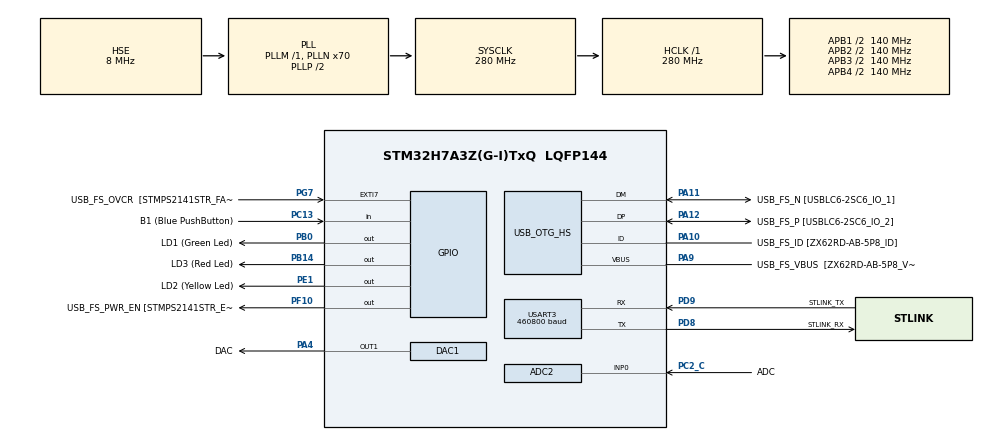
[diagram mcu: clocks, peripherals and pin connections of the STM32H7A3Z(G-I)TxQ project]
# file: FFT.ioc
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ADC2.NbrOfConversionFlag=1
ADC2.Resolution=ADC_RESOLUTION_10B
DAC1.DAC_Channel-DAC_OUT1=DAC_CHANNEL_1
Mcu.Family=STM32H7
Mcu.Name=STM32H7A3Z(G-I)TxQ
Mcu.Package=LQFP144
NVIC.PriorityGroup=NVIC_PRIORITYGROUP_4
PA10.GPIO_Label=USB_FS_ID [ZX62RD-AB-5P8_ID]
PA10.Mode=OTG/Dual-Role-Device-FS
PA10.Signal=USB_OTG_HS_ID
PA11.GPIO_Label=USB_FS_N [USBLC6-2SC6_IO_1]
PA11.Mode=OTG/Dual-Role-Device-FS
PA11.Signal=USB_OTG_HS_DM
PA12.GPIO_Label=USB_FS_P [USBLC6-2SC6_IO_2]
PA12.Mode=OTG/Dual-Role-Device-FS
PA12.Signal=USB_OTG_HS_DP
PA4.GPIO_Label=DAC
PA4.GPIO_Mode=GPIO_MODE_ANALOG
PA4.GPIO_PuPd=GPIO_NOPULL
PA4.Signal=COMP_DAC11_group
PA9.GPIO_Label=USB_FS_VBUS  [ZX62RD-AB-5P8_VBUS]
PA9.Mode=Activate_VBUS_FS
PA9.Signal=USB_OTG_HS_VBUS
PB0.GPIO_Label=LD1 (Green Led)
PB0.Signal=GPIO_Output
PB14.GPIO_Label=LD3 (Red Led)
PB14.Signal=GPIO_Output
PC13.GPIO_Label=B1 (Blue PushButton)
PC13.Signal=GPIO_Input
PC14-OSC32_IN.GPIO_Label=OSC32_IN
PC14-OSC32_IN.Mode=LSE-External-Oscillator
PC14-OSC32_IN.Signal=RCC_OSC32_IN
PC15-OSC32_OUT.GPIO_Label=OSC32_OUT
PC15-OSC32_OUT.Mode=LSE-External-Oscillator
PC15-OSC32_OUT.Signal=RCC_OSC32_OUT
PC2_C.GPIO_Label=ADC
PC2_C.GPIO_Mode=GPIO_MODE_ANALOG
PC2_C.GPIO_PuPd=GPIO_NOPULL
PC2_C.Mode=IN0-Single-Ended
PC2_C.Signal=ADC2_INP0
PD8.GPIO_Label=STLINK_RX
PD8.Mode=Asynchronous
PD8.Signal=USART3_TX
PD9.GPIO_Label=STLINK_TX
PD9.Mode=Asynchronous
PD9.Signal=USART3_RX
PE1.GPIO_Label=LD2 (Yellow Led)
PE1.Signal=GPIO_Output
PF10.GPIO_Label=USB_FS_PWR_EN [STMPS2141STR_EN]
PF10.Signal=GPIO_Output
PG7.GPIO_Label=USB_FS_OVCR  [STMPS2141STR_FAULT]
PG7.Signal=GPXTI7
PH0-OSC_IN.GPIO_Label=PH0-MCU
PH0-OSC_IN.Mode=HSE-External-Clock-Source
PH0-OSC_IN.Signal=RCC_OSC_IN
PH1-OSC_OUT.GPIO_Label=PH1-MCU
PH1-OSC_OUT.Signal=RCC_OSC_OUT
ProjectManager.HeapSize=0x200
ProjectManager.StackSize=0x400
ProjectManager.TargetToolchain=STM32CubeIDE
RCC.ADCFreq_Value=42666666.666666664
RCC.APB1Freq_Value=140000000
RCC.APB2Freq_Value=140000000
RCC.APB3Freq_Value=140000000
RCC.APB4Freq_Value=140000000
RCC.CDPPRE=RCC_APB3_DIV2
RCC.CDPPRE1=RCC_APB1_DIV2
RCC.CDPPRE2=RCC_APB2_DIV2
RCC.CortexFreq_Value=280000000
RCC.DIVM1=1
RCC.DIVM2=1
RCC.DIVM3=1
RCC.DIVN1=70
RCC.DIVN2=16
RCC.DIVN3=24
RCC.DIVP2=3
RCC.DIVQ1=20
RCC.DIVQ2=1
RCC.HCLKFreq_Value=280000000
RCC.HSE_VALUE=8000000
RCC.PLL2FRACN=0
RCC.PLL2_VCI_Range-AdvancedSettings=RCC_PLL2VCIRANGE_0
RCC.PLL3FRACN=0
RCC.PLL3_VCO_SEL-AdvancedSettings=RCC_PLL3VCOWIDE
RCC.PLLFRACN=0
RCC.PLLSourceVirtual=RCC_PLLSOURCE_HSE
RCC.SRDPPRE=RCC_APB4_DIV2
RCC.SYSCLKFreq_VALUE=280000000
RCC.SYSCLKSource=RCC_SYSCLKSOURCE_PLLCLK
RCC.SupplySource=PWR_DIRECT_SMPS_SUPPLY
RCC.USBCLockSelection=RCC_USBCLKSOURCE_HSI48
RCC.USBFreq_Value=48000000
SH.COMP_DAC11_group.0=DAC1_OUT1,DAC_OUT1
USART3.BaudRate=460800
USART3.VirtualMode-Asynchronous=VM_ASYNC
board=NUCLEO-H7A3ZI-Q

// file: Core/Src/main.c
/* USER CODE BEGIN Header */
/**
  ******************************************************************************
  * @file           : main.c
  * @brief          : Main program body
  ******************************************************************************
  * @attention
  *
  * Copyright (c) 2023 STMicroelectronics.
  * All rights reserved.
  *
  * This software is licensed under terms that can be found in the LICENSE file
  * in the root directory of this software component.
  * If no LICENSE file comes with this software, it is provided AS-IS.
  *
  ******************************************************************************
  */
/* USER CODE END Header */
#include "main.h"
#include "adc.h"
#include "dac.h"
#include "usart.h"
#include "usb_otg.h"
#include "gpio.h"

/* USER CODE BEGIN Includes */

#include "arm_math.h"
#include "arm_const_structs.h"
#include "fir.h"

/* USER CODE END Includes */

/* USER CODE BEGIN PTD */

extern ADC_HandleTypeDef hadc2;
extern UART_HandleTypeDef huart3;

/* USER CODE END PTD */

/* USER CODE BEGIN PD */

int CyclesCounterInit( uint32_t clockSpeed );

#define PUTCHAR_PROTOTYPE int __io_putchar(int ch)
#define BITS    	10
#define NM  		256
#define MUESTREO	50000
#define CLOCK 		280000000

#define CyclesCounterRead()		DWT->CYCCNT
#define CyclesCounterReset()    (DWT->CYCCNT = 0)

struct header_struct {
   char     pre[8];
   uint32_t id;
   uint16_t N;
   uint16_t fs ;
   uint16_t hLength ;
   char     pos[4];
} __attribute__ ((packed));

struct header_struct header={"*header*",0, NM, MUESTREO, h_LENGTH,"end*"};

int16_t offset = 512;
int16_t zero = 0;

/* USER CODE END PD */

void SystemClock_Config(void);

int main(void)
{
  /* USER CODE BEGIN 1 */

  uint16_t 	adc_value = 0;

  uint16_t 	sample = 0;
  int16_t 	adc[header.N];
  int16_t 	y[h_LENGTH+header.N-1 ];

  /* USER CODE END 1 */

  /* MCU Configuration--------------------------------------------------------*/

  /* Reset of all peripherals, Initializes the Flash interface and the Systick. */
  HAL_Init();

  /* Configure the system clock */
  SystemClock_Config();

  /* Initialize all configured peripherals */
  MX_GPIO_Init();
  MX_USB_OTG_HS_USB_Init();
  MX_ADC2_Init();
  MX_USART3_UART_Init();
  MX_DAC1_Init();
  /* USER CODE BEGIN 2 */

  CyclesCounterInit(CLOCK); // Enable the cycle counter

  printf("Inicio ADC DAC \r\n");

  /* USER CODE END 2 */

  /* Infinite loop */
  while (1)
  {

    /* USER CODE BEGIN 3 */

	CyclesCounterReset();

	HAL_ADC_Start(&hadc2);
	HAL_ADC_PollForConversion(&hadc2, 1000);
	adc_value = HAL_ADC_GetValue(&hadc2);
	HAL_ADC_Stop(&hadc2);

	adc[sample] = (((int16_t )adc_value - 512 )>>(10 - BITS))<<(6 + 10 - BITS);

	// dacWrite(DAC, y[sample]); // will be 128 samples delayed from input.

	if (++sample==header.N )
	{
		HAL_GPIO_TogglePin(GPIOB, LD1_Pin);
		sample = 0;
		arm_conv_q15(adc, header.N, h, h_LENGTH, y);
		header.id++;
		HAL_UART_Transmit(&huart3,(uint8_t*)&header, sizeof(struct header_struct), 0xFFFF);

	 for (int i=0;i<(header.N+h_LENGTH-1); i++)
	 {
		 HAL_UART_Transmit(&huart3,(uint8_t*)(i<header.N ? &adc[i] : &offset), sizeof(adc[0]), 0xFFFF);
		 HAL_UART_Transmit(&huart3,(uint8_t* )(i<h_LENGTH ? &h[i] : &zero), sizeof(h[0]), 0xFFFF);
		 HAL_UART_Transmit(&huart3,(uint8_t*)(&y[i]), sizeof(y[0]), 0xFFFF);
	 }
	 //adcRead(CH1);
	}

    while(CyclesCounterRead() < (CLOCK / header.fs))
    {}

	//printf("ADC = %d \r\n",adc_value);

  }
  /* USER CODE END 3 */
}

void SystemClock_Config(void)
{
  RCC_OscInitTypeDef RCC_OscInitStruct = {0};
  RCC_ClkInitTypeDef RCC_ClkInitStruct = {0};

  /*AXI clock gating */
  RCC->CKGAENR = 0xFFFFFFFF;

  /** Supply configuration update enable
  */
  HAL_PWREx_ConfigSupply(PWR_DIRECT_SMPS_SUPPLY);

  /** Configure the main internal regulator output voltage
  */
  __HAL_PWR_VOLTAGESCALING_CONFIG(PWR_REGULATOR_VOLTAGE_SCALE0);

  while(!__HAL_PWR_GET_FLAG(PWR_FLAG_VOSRDY)) {}

  /** Initializes the RCC Oscillators according to the specified parameters
  * in the RCC_OscInitTypeDef structure.
  */
  RCC_OscInitStruct.OscillatorType = RCC_OSCILLATORTYPE_HSI48|RCC_OSCILLATORTYPE_LSI
                              |RCC_OSCILLATORTYPE_HSE;
  RCC_OscInitStruct.HSEState = RCC_HSE_BYPASS;
  RCC_OscInitStruct.LSIState = RCC_LSI_ON;
  RCC_OscInitStruct.HSI48State = RCC_HSI48_ON;
  RCC_OscInitStruct.PLL.PLLState = RCC_PLL_ON;
  RCC_OscInitStruct.PLL.PLLSource = RCC_PLLSOURCE_HSE;
  RCC_OscInitStruct.PLL.PLLM = 1;
  RCC_OscInitStruct.PLL.PLLN = 70;
  RCC_OscInitStruct.PLL.PLLP = 2;
  RCC_OscInitStruct.PLL.PLLQ = 20;
  RCC_OscInitStruct.PLL.PLLR = 2;
  RCC_OscInitStruct.PLL.PLLRGE = RCC_PLL1VCIRANGE_3;
  RCC_OscInitStruct.PLL.PLLVCOSEL = RCC_PLL1VCOWIDE;
  RCC_OscInitStruct.PLL.PLLFRACN = 0;
  if (HAL_RCC_OscConfig(&RCC_OscInitStruct) != HAL_OK)
  {
    Error_Handler();
  }

  /** Initializes the CPU, AHB and APB buses clocks
  */
  RCC_ClkInitStruct.ClockType = RCC_CLOCKTYPE_HCLK|RCC_CLOCKTYPE_SYSCLK
                              |RCC_CLOCKTYPE_PCLK1|RCC_CLOCKTYPE_PCLK2
                              |RCC_CLOCKTYPE_D3PCLK1|RCC_CLOCKTYPE_D1PCLK1;
  RCC_ClkInitStruct.SYSCLKSource = RCC_SYSCLKSOURCE_PLLCLK;
  RCC_ClkInitStruct.SYSCLKDivider = RCC_SYSCLK_DIV1;
  RCC_ClkInitStruct.AHBCLKDivider = RCC_HCLK_DIV1;
  RCC_ClkInitStruct.APB3CLKDivider = RCC_APB3_DIV2;
  RCC_ClkInitStruct.APB1CLKDivider = RCC_APB1_DIV2;
  RCC_ClkInitStruct.APB2CLKDivider = RCC_APB2_DIV2;
  RCC_ClkInitStruct.APB4CLKDivider = RCC_APB4_DIV2;

  if (HAL_RCC_ClockConfig(&RCC_ClkInitStruct, FLASH_LATENCY_7) != HAL_OK)
  {
    Error_Handler();
  }
}

/* USER CODE BEGIN 4 */

PUTCHAR_PROTOTYPE
{
  /* Place your implementation of fputc here */
  /* e.g. write a character to the USART3 and Loop until the end of transmission */
  HAL_UART_Transmit(&huart3, (uint8_t *)&ch, 1, 0xFFFF);

  return ch;
}

int CyclesCounterInit( uint32_t clockSpeed )
{
   DWT->CTRL  |= 1; // *DWT_CTRL  |= 1;
   return 1;
}

/* USER CODE END 4 */

void Error_Handler(void)
{
  __disable_irq();
  while (1)
  {
  }
}
